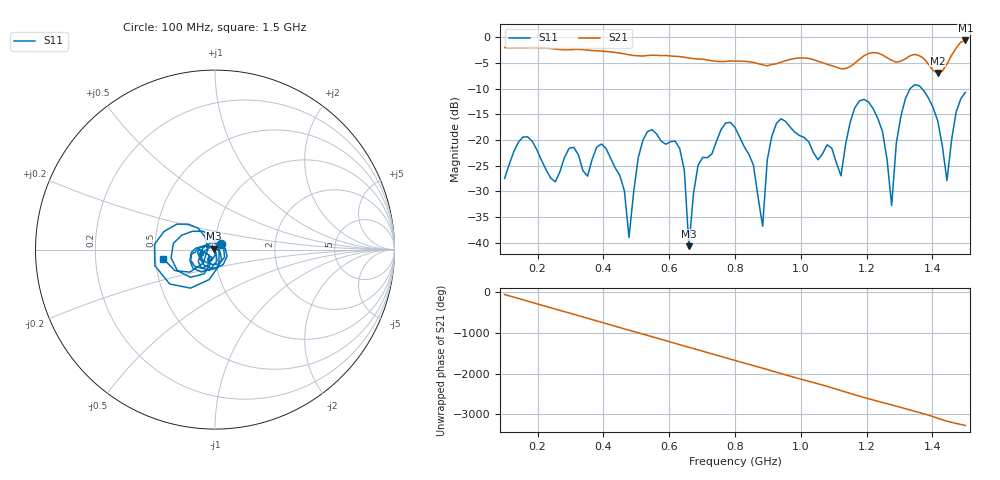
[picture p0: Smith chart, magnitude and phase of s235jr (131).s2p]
! NanoVNA-App
! Date: 2025-09-25 15:05:11
! Start: 100MHz Stop: 1,5GHz Points: 101
! S-Parameter data: F S11 S21 S12 S22
# Hz S RI R 50
!  Frequency  S11_Real  S11_Imag  S21_Real  S21_Imag  S12_Real  S12_Imag  S22_Real  S22_Imag
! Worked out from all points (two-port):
!   101 points, 100 MHz to 1.5 GHz, reference 50 ohm
!   highest |S21| = -0.58 dB at 1.5 GHz (marker M1); lowest = -6.9 dB at 1.416 GHz (marker M2)
!   |S21| within 3 dB of the highest: start of sweep to 508.6 MHz; 525.1 MHz to 599.2 MHz (74.09 MHz wide, 13.2 % of centre) (the widest 2 of 5)
!   lowest |S11| = -40.7 dB at 660 MHz (marker M3), VSWR 1.02, Z = 49.3 + j0.568 ohm
!   |S11| at or under -10 dB: start of sweep to 1.332 GHz; 1.368 GHz to end of sweep
!   S12 and S22 are empty: the file has one direction only
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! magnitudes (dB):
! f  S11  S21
! 100 MHz  -27.5  -2.0
! 156 MHz  -19.4  -2.0
! 338 MHz  -26.0  -2.4
! 408 MHz  -21.6  -2.7
! 478 MHz  -39.0  -3.4
! 520 MHz  -20.1  -3.6
! 576 MHz  -20.2  -3.5
! 632 MHz  -21.7  -3.7
! 660 MHz  -40.7  -4.0
! 688 MHz  -24.9  -4.2
! 800 MHz  -17.6  -4.6
! 884 MHz  -36.8  -5.3
! 926 MHz  -16.7  -5.1
! 1.038 GHz  -22.4  -4.3
! 1.122 GHz  -27.0  -6.1
! 1.206 GHz  -12.6  -3.1
! 1.248 GHz  -18.3  -3.4
! 1.276 GHz  -32.8  -4.5
! 1.332 GHz  -10.0  -3.6
! 1.416 GHz  -16.3  -6.9
! 1.444 GHz  -27.9  -5.2
! 1.5 GHz  -10.7  -0.6
